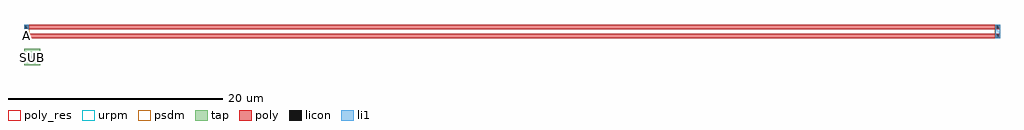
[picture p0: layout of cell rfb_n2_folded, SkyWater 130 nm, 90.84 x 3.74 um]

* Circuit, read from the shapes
.subckt rfb_n2_folded A B SUB
XR1 n1 A SUB sky130_fd_pr__res_xhigh_po w=0.42 l=89.88
XR2 n1 B SUB sky130_fd_pr__res_xhigh_po w=0.42 l=89.88
.ends

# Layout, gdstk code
import gdstk
lib = gdstk.Library(unit=1e-6, precision=1e-09)
def R(c, l, rs):  # rectangles x0, y0, x1, y1
    for r in rs: c.add(gdstk.rectangle(r[:2], r[2:], *l))
tap = (65, 44)
poly_res = (66, 13)
poly = (66, 20)
licon = (66, 44)
li1 = (67, 20)
urpm = (79, 20)
psdm = (94, 20)

res_array = lib.new_cell('res_array')
R(res_array, poly_res, [(0.42,0,90.42,0.42), (0.42,0.82,90.42,1.24)])
R(res_array, poly, [(0,0,90.84,0.42), (0,0.82,90.84,1.24)])
R(res_array, licon, [(0.1,0.1,0.32,0.32), (90.52,0.1,90.74,0.32), (0.1,0.92,0.32,1.14), (90.52,0.92,90.74,1.14)])
R(res_array, li1, [(0,0,0.42,0.42), (90.42,0,90.84,0.42), (0,0.82,0.42,1.24), (90.42,0.82,90.84,1.24)])
R(res_array, urpm, [(0.42,0,90.42,0.42), (0.42,0.82,90.42,1.24)])
R(res_array, psdm, [(0.42,0,90.42,0.42), (0.42,0.82,90.42,1.24)])

rfb_n2_folded_bank = lib.new_cell('rfb_n2_folded_bank')
rfb_n2_folded_bank.add(gdstk.Reference(res_array, (0,0)))

rfb_n2_folded = lib.new_cell('rfb_n2_folded')
R(rfb_n2_folded, tap, [(0,-2.5,1.5,-1)])
R(rfb_n2_folded, licon, [(0.665,-1.835,0.835,-1.665)])
R(rfb_n2_folded, li1, [(0.54,-1.96,0.96,-1.54), (90.42,0,90.84,1.24)])
R(rfb_n2_folded, urpm, [(0.42,0,90.42,1.24)])
R(rfb_n2_folded, psdm, [(0.42,0,90.42,1.24)])
rfb_n2_folded.add(gdstk.Reference(rfb_n2_folded_bank, (0,0)))
rfb_n2_folded.add(gdstk.Label('A', (0.21,0.21), layer=67, texttype=5))
rfb_n2_folded.add(gdstk.Label('B', (0.21,1.03), layer=67, texttype=5))
rfb_n2_folded.add(gdstk.Label('SUB', (0.75,-1.75), layer=67, texttype=5))

lib.write_gds('rfb_n2_folded.gds')
